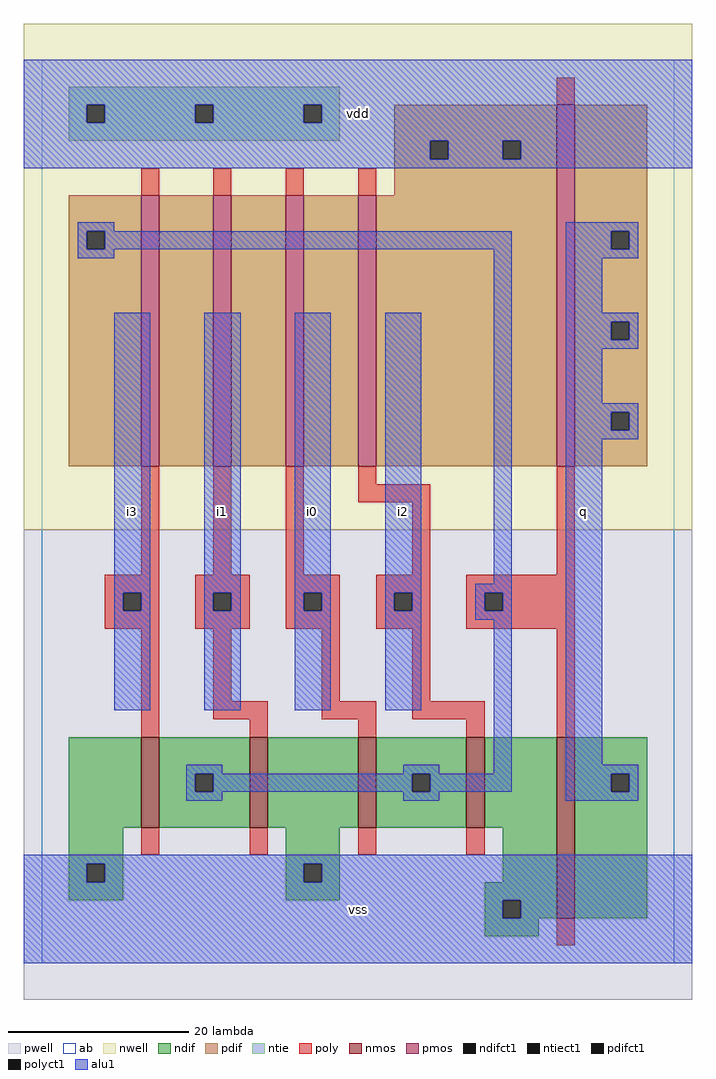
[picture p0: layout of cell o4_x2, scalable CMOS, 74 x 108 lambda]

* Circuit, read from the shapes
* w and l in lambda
.subckt o4_x2 i0 i1 i2 i3 q vdd vss
M1 n1 i3 vss VSUBS nfet w=10 l=2
M2 vss i1 n1 VSUBS nfet w=10 l=2
M3 n1 i0 vss VSUBS nfet w=10 l=2
M4 vss i2 n1 VSUBS nfet w=10 l=2
M5 q n1 vss VSUBS nfet w=20 l=2
M6 n2 i3 n1 vdd pfet w=30 l=2
M7 n3 i1 n2 vdd pfet w=30 l=2
M8 n4 i0 n3 vdd pfet w=30 l=2
M9 vdd i2 n4 vdd pfet w=30 l=2
M10 q n1 vdd vdd pfet w=40 l=2
.ends

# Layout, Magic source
magic
tech scmos
<< ab >>
rect 0 0 70 100
<< nwell >>
rect -2 48 72 104
<< pwell >>
rect -2 -4 72 48
<< poly >>
rect 57 95 59 98
rect 11 85 13 88
rect 19 85 21 88
rect 27 85 29 88
rect 35 85 37 88
rect 11 43 13 55
rect 19 43 21 55
rect 27 43 29 55
rect 35 53 37 55
rect 35 51 43 53
rect 41 43 43 51
rect 57 43 59 55
rect 7 41 13 43
rect 7 39 9 41
rect 11 39 13 41
rect 7 37 13 39
rect 17 41 23 43
rect 17 39 19 41
rect 21 39 23 41
rect 17 37 23 39
rect 27 41 33 43
rect 27 39 29 41
rect 31 39 33 41
rect 27 37 33 39
rect 37 41 43 43
rect 37 39 39 41
rect 41 39 43 41
rect 37 37 43 39
rect 47 41 59 43
rect 47 39 49 41
rect 51 39 59 41
rect 47 37 59 39
rect 11 25 13 37
rect 19 29 21 37
rect 31 29 33 37
rect 41 29 43 37
rect 19 27 25 29
rect 31 27 37 29
rect 41 27 49 29
rect 23 25 25 27
rect 35 25 37 27
rect 47 25 49 27
rect 57 25 59 37
rect 11 12 13 15
rect 23 12 25 15
rect 35 12 37 15
rect 47 12 49 15
rect 57 2 59 5
<< ndif >>
rect 3 15 11 25
rect 13 21 23 25
rect 13 19 17 21
rect 19 19 23 21
rect 13 15 23 19
rect 25 15 35 25
rect 37 21 47 25
rect 37 19 41 21
rect 43 19 47 21
rect 37 15 47 19
rect 49 15 57 25
rect 3 11 9 15
rect 3 9 5 11
rect 7 9 9 11
rect 3 7 9 9
rect 27 11 33 15
rect 27 9 29 11
rect 31 9 33 11
rect 51 9 57 15
rect 27 7 33 9
rect 49 7 57 9
rect 49 5 51 7
rect 53 5 57 7
rect 59 21 67 25
rect 59 19 63 21
rect 65 19 67 21
rect 59 5 67 19
rect 49 3 55 5
<< pdif >>
rect 39 91 57 95
rect 39 89 43 91
rect 45 89 51 91
rect 53 89 57 91
rect 39 85 57 89
rect 3 81 11 85
rect 3 79 5 81
rect 7 79 11 81
rect 3 55 11 79
rect 13 55 19 85
rect 21 55 27 85
rect 29 55 35 85
rect 37 55 57 85
rect 59 81 67 95
rect 59 79 63 81
rect 65 79 67 81
rect 59 71 67 79
rect 59 69 63 71
rect 65 69 67 71
rect 59 61 67 69
rect 59 59 63 61
rect 65 59 67 61
rect 59 55 67 59
<< alu1 >>
rect -2 95 72 100
rect -2 93 5 95
rect 7 93 17 95
rect 19 93 29 95
rect 31 93 72 95
rect -2 91 72 93
rect -2 89 43 91
rect 45 89 51 91
rect 53 89 72 91
rect -2 88 72 89
rect 4 81 8 82
rect 58 81 66 82
rect 4 79 5 81
rect 7 79 52 81
rect 4 78 8 79
rect 8 41 12 72
rect 8 39 9 41
rect 11 39 12 41
rect 8 28 12 39
rect 18 41 22 72
rect 18 39 19 41
rect 21 39 22 41
rect 18 28 22 39
rect 28 41 32 72
rect 28 39 29 41
rect 31 39 32 41
rect 28 28 32 39
rect 38 41 42 72
rect 50 42 52 79
rect 38 39 39 41
rect 41 39 42 41
rect 38 28 42 39
rect 48 41 52 42
rect 48 39 49 41
rect 51 39 52 41
rect 48 38 52 39
rect 16 21 20 22
rect 40 21 44 22
rect 50 21 52 38
rect 16 19 17 21
rect 19 19 41 21
rect 43 19 52 21
rect 58 79 63 81
rect 65 79 66 81
rect 58 78 66 79
rect 58 72 62 78
rect 58 71 66 72
rect 58 69 63 71
rect 65 69 66 71
rect 58 68 66 69
rect 58 62 62 68
rect 58 61 66 62
rect 58 59 63 61
rect 65 59 66 61
rect 58 58 66 59
rect 58 22 62 58
rect 58 21 66 22
rect 58 19 63 21
rect 65 19 66 21
rect 16 18 20 19
rect 40 18 44 19
rect 58 18 66 19
rect -2 11 72 12
rect -2 9 5 11
rect 7 9 29 11
rect 31 9 72 11
rect -2 7 72 9
rect -2 5 51 7
rect 53 5 72 7
rect -2 0 72 5
<< ntie >>
rect 3 95 33 97
rect 3 93 5 95
rect 7 93 17 95
rect 19 93 29 95
rect 31 93 33 95
rect 3 91 33 93
<< nmos >>
rect 11 15 13 25
rect 23 15 25 25
rect 35 15 37 25
rect 47 15 49 25
rect 57 5 59 25
<< pmos >>
rect 11 55 13 85
rect 19 55 21 85
rect 27 55 29 85
rect 35 55 37 85
rect 57 55 59 95
<< polyct1 >>
rect 9 39 11 41
rect 19 39 21 41
rect 29 39 31 41
rect 39 39 41 41
rect 49 39 51 41
<< ndifct1 >>
rect 17 19 19 21
rect 41 19 43 21
rect 5 9 7 11
rect 29 9 31 11
rect 51 5 53 7
rect 63 19 65 21
<< ntiect1 >>
rect 5 93 7 95
rect 17 93 19 95
rect 29 93 31 95
<< pdifct1 >>
rect 43 89 45 91
rect 51 89 53 91
rect 5 79 7 81
rect 63 79 65 81
rect 63 69 65 71
rect 63 59 65 61
<< labels >>
rlabel alu1 10 50 10 50 6 i3
rlabel alu1 30 50 30 50 6 i0
rlabel alu1 20 50 20 50 6 i1
rlabel alu1 35 6 35 6 6 vss
rlabel alu1 40 50 40 50 6 i2
rlabel alu1 35 94 35 94 6 vdd
rlabel alu1 60 50 60 50 6 q
<< end >>
